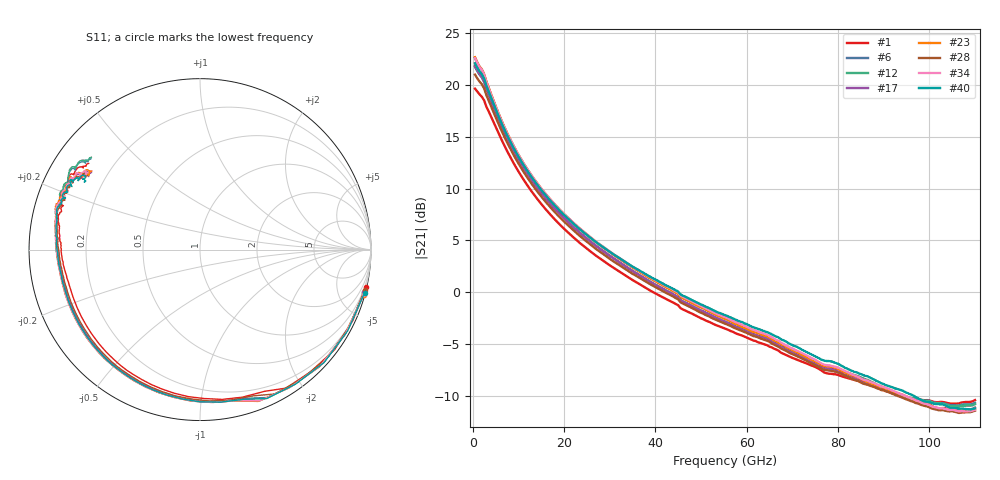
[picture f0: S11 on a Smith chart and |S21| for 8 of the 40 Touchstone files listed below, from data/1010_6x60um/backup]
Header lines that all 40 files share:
!Date = 8/23/2019
!Test duration(min) = 0.15
!Test = S-Parameters
!MPTS version = 8.91.5
!State File = C:\Data\PNA\20190821205423\S-Parameters_2019-08-23.sta
!Cal File =
!ComputerName = CMPE-LAB-6
!Comments =
!Input Power(dBm) = -13.00
!Device ID = EG0520U_1010_6x60_2SDBCB2EV
!Technology = QPHT09
!Lot/Wafer = 1915934D06
!Gate Size = 360
!Mask = EG0520
!Cal Standards = GaAs BCB
!Cal Kit = EG2306
!Job Number = 20190821205423
!Device Type = FET
!set_Vg(v) = -1.500
# GHz  S  DB  R  50
Fixed: Attenuation = 0, Z0 = 50
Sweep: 500 MHz to 110 GHz
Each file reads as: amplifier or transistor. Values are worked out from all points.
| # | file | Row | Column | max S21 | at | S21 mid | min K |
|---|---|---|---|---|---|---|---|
| 1 | EG0520U_1010_6x60_2SDBCB2EV_1915934D06_RC2943_2.5Vd_18mA.s2p | 29 | 43 | 19.7 dB | 500 MHz | -3.6 dB at 55.5 GHz | -0.94 |
| 2 | EG0520U_1010_6x60_2SDBCB2EV_1915934D06_RC2943_2.5Vd_27mA.s2p | 29 | 43 | 20.9 dB | 500 MHz | -3.0 dB at 55.5 GHz | -0.85 |
| 3 | EG0520U_1010_6x60_2SDBCB2EV_1915934D06_RC2943_2.5Vd_54mA.s2p | 29 | 43 | 22.5 dB | 500 MHz | -2.2 dB at 55.5 GHz | -0.85 |
| 4 | EG0520U_1010_6x60_2SDBCB2EV_1915934D06_RC2943_3.5Vd_18mA.s2p | 29 | 43 | 19.8 dB | 500 MHz | -3.7 dB at 55.5 GHz | -1.38 |
| 5 | EG0520U_1010_6x60_2SDBCB2EV_1915934D06_RC2943_3.5Vd_27mA.s2p | 29 | 43 | 21.0 dB | 500 MHz | -3.2 dB at 55.5 GHz | -1.31 |
| 6 | EG0520U_1010_6x60_2SDBCB2EV_1915934D06_RC2943_3.5Vd_36mA.s2p | 29 | 43 | 21.8 dB | 500 MHz | -2.9 dB at 55.5 GHz | -1.25 |
| 7 | EG0520U_1010_6x60_2SDBCB2EV_1915934D06_RC2943_3.5Vd_45mA.s2p | 29 | 43 | 22.3 dB | 500 MHz | -2.6 dB at 55.5 GHz | -1.24 |
| 8 | EG0520U_1010_6x60_2SDBCB2EV_1915934D06_RC2943_3.5Vd_54mA.s2p | 29 | 43 | 22.6 dB | 500 MHz | -2.5 dB at 55.5 GHz | -1.22 |
| 9 | EG0520U_1010_6x60_2SDBCB2EV_1915934D06_RC2943_3Vd_45mA.s2p | 29 | 43 | 22.2 dB | 500 MHz | -2.5 dB at 55.5 GHz | -1.05 |
| 10 | EG0520U_1010_6x60_2SDBCB2EV_1915934D06_RC2943_4Vd_18mA.s2p | 29 | 43 | 19.8 dB | 500 MHz | -3.8 dB at 55.5 GHz | -1.57 |
| 11 | EG0520U_1010_6x60_2SDBCB2EV_1915934D06_RC2943_4Vd_36mA.s2p | 29 | 43 | 21.8 dB | 500 MHz | -3.0 dB at 55.5 GHz | -1.44 |
| 12 | EG0520U_1010_6x60_2SDBCB2EV_1915934D06_RC2943_4Vd_54mA.s2p | 29 | 43 | 22.6 dB | 500 MHz | -2.6 dB at 55.5 GHz | -1.41 |
| 13 | EG0520U_1010_6x60_2SDBCB2EV_1915934D06_RC2952_2.5Vd_27mA.s2p | 29 | 52 | 21.0 dB | 500 MHz | -3.0 dB at 55.5 GHz | -1.27 |
| 14 | EG0520U_1010_6x60_2SDBCB2EV_1915934D06_RC2952_2.5Vd_36mA.s2p | 29 | 52 | 21.7 dB | 500 MHz | -2.7 dB at 55.5 GHz | -1.25 |
| 15 | EG0520U_1010_6x60_2SDBCB2EV_1915934D06_RC2952_2.5Vd_45mA.s2p | 29 | 52 | 22.2 dB | 500 MHz | -2.5 dB at 55.5 GHz | -1.23 |
| 16 | EG0520U_1010_6x60_2SDBCB2EV_1915934D06_RC2952_3.5Vd_27mA.s2p | 29 | 52 | 21.1 dB | 500 MHz | -3.2 dB at 55.5 GHz | -2.04 |
| 17 | EG0520U_1010_6x60_2SDBCB2EV_1915934D06_RC2952_3.5Vd_36mA.s2p | 29 | 52 | 21.8 dB | 500 MHz | -2.9 dB at 55.5 GHz | -1.94 |
| 18 | EG0520U_1010_6x60_2SDBCB2EV_1915934D06_RC2952_3.5Vd_45mA.s2p | 29 | 52 | 22.3 dB | 500 MHz | -2.7 dB at 55.5 GHz | -1.89 |
| 19 | EG0520U_1010_6x60_2SDBCB2EV_1915934D06_RC2952_3.5Vd_54mA.s2p | 29 | 52 | 22.7 dB | 500 MHz | -2.5 dB at 55.5 GHz | -1.85 |
| 20 | EG0520U_1010_6x60_2SDBCB2EV_1915934D06_RC2952_3Vd_18mA.s2p | 29 | 52 | 19.8 dB | 500 MHz | -3.7 dB at 55.5 GHz | -1.82 |
| 21 | EG0520U_1010_6x60_2SDBCB2EV_1915934D06_RC2952_3Vd_54mA.s2p | 29 | 52 | 22.7 dB | 500 MHz | -2.4 dB at 55.5 GHz | -1.55 |
| 22 | EG0520U_1010_6x60_2SDBCB2EV_1915934D06_RC2952_4Vd_18mA.s2p | 29 | 52 | 19.9 dB | 500 MHz | -3.8 dB at 55.5 GHz | -2.49 |
| 23 | EG0520U_1010_6x60_2SDBCB2EV_1915934D06_RC2952_4Vd_54mA.s2p | 29 | 52 | 22.7 dB | 500 MHz | -2.6 dB at 55.5 GHz | -2.20 |
| 24 | EG0520U_1010_6x60_2SDBCB2EV_1915934D06_RC4034_2.5Vd_18mA.s2p | 40 | 34 | 19.6 dB | 500 MHz | -3.4 dB at 55.5 GHz | -1.21 |
| 25 | EG0520U_1010_6x60_2SDBCB2EV_1915934D06_RC4034_2.5Vd_36mA.s2p | 40 | 34 | 21.6 dB | 500 MHz | -2.6 dB at 55.5 GHz | -1.09 |
| 26 | EG0520U_1010_6x60_2SDBCB2EV_1915934D06_RC4034_2.5Vd_54mA.s2p | 40 | 34 | 22.5 dB | 500 MHz | -2.1 dB at 55.5 GHz | -1.09 |
| 27 | EG0520U_1010_6x60_2SDBCB2EV_1915934D06_RC4034_3.5Vd_18mA.s2p | 40 | 34 | 19.8 dB | 500 MHz | -3.6 dB at 55.5 GHz | -1.99 |
| 28 | EG0520U_1010_6x60_2SDBCB2EV_1915934D06_RC4034_3.5Vd_27mA.s2p | 40 | 34 | 21.0 dB | 500 MHz | -3.1 dB at 55.5 GHz | -1.79 |
| 29 | EG0520U_1010_6x60_2SDBCB2EV_1915934D06_RC4034_3.5Vd_54mA.s2p | 40 | 34 | 22.6 dB | 500 MHz | -2.3 dB at 55.5 GHz | -1.61 |
| 30 | EG0520U_1010_6x60_2SDBCB2EV_1915934D06_RC4034_3Vd_36mA.s2p | 40 | 34 | 21.7 dB | 500 MHz | -2.7 dB at 55.5 GHz | -1.43 |
| 31 | EG0520U_1010_6x60_2SDBCB2EV_1915934D06_RC4034_3Vd_54mA.s2p | 40 | 34 | 22.6 dB | 500 MHz | -2.2 dB at 55.5 GHz | -1.40 |
| 32 | EG0520U_1010_6x60_2SDBCB2EV_1915934D06_RC4034_4Vd_18mA.s2p | 40 | 34 | 19.8 dB | 500 MHz | -3.7 dB at 55.5 GHz | -2.21 |
| 33 | EG0520U_1010_6x60_2SDBCB2EV_1915934D06_RC4034_4Vd_45mA.s2p | 40 | 34 | 22.2 dB | 500 MHz | -2.6 dB at 55.5 GHz | -1.96 |
| 34 | EG0520U_1010_6x60_2SDBCB2EV_1915934D06_RC4034_4Vd_54mA.s2p | 40 | 34 | 22.6 dB | 500 MHz | -2.4 dB at 55.5 GHz | -1.92 |
| 35 | EG0520U_1010_6x60_2SDBCB2EV_1915934D06_RC7325_2.5Vd_18mA.s2p | 73 | 25 | 19.5 dB | 500 MHz | -3.3 dB at 55.5 GHz | -1.25 |
| 36 | EG0520U_1010_6x60_2SDBCB2EV_1915934D06_RC7325_2.5Vd_36mA.s2p | 73 | 25 | 21.5 dB | 500 MHz | -2.4 dB at 55.5 GHz | -1.07 |
| 37 | EG0520U_1010_6x60_2SDBCB2EV_1915934D06_RC7325_2.5Vd_54mA.s2p | 73 | 25 | 22.4 dB | 500 MHz | -1.9 dB at 55.5 GHz | -1.09 |
| 38 | EG0520U_1010_6x60_2SDBCB2EV_1915934D06_RC7325_3.5Vd_45mA.s2p | 73 | 25 | 22.1 dB | 500 MHz | -2.4 dB at 55.5 GHz | -1.72 |
| 39 | EG0520U_1010_6x60_2SDBCB2EV_1915934D06_RC7325_3Vd_36mA.s2p | 73 | 25 | 21.6 dB | 500 MHz | -2.5 dB at 55.5 GHz | -1.44 |
| 40 | EG0520U_1010_6x60_2SDBCB2EV_1915934D06_RC7325_3Vd_45mA.s2p | 73 | 25 | 22.1 dB | 500 MHz | -2.3 dB at 55.5 GHz | -1.42 |
